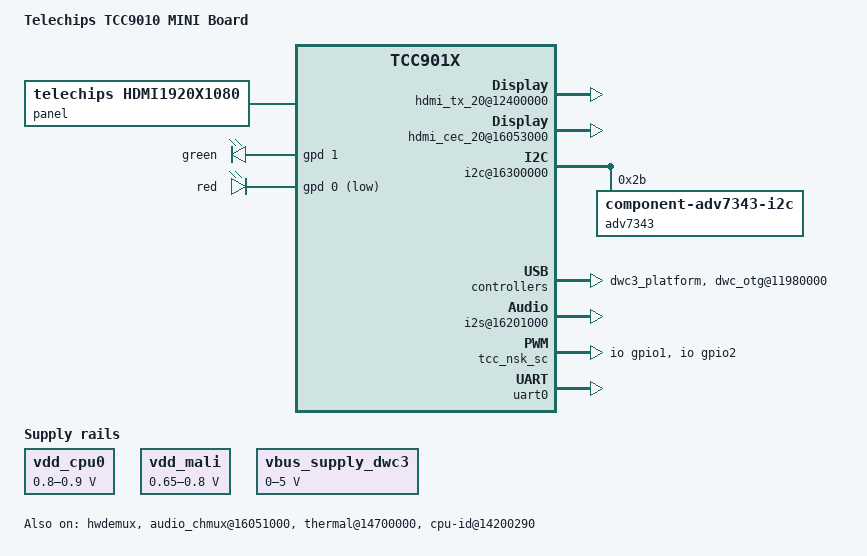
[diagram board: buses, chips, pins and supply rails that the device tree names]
/*
 * Device tree for Telechips TCC9010 MINI board
 *
 * Copyright (C) 2019 Telechips Inc. - http://www.telechips.com
 *
 * This file is dual-licensed: you can use it either under the terms
 * of the GPL or the X11 license, at your option. Note that this dual
 * licensing only applies to this file, and not this project as a
 * whole.
 *
 *  a) This file is free software; you can redistribute it and/or
 *     modify it under the terms of the GNU General Public License as
 *     published by the Free Software Foundation; either version 2 of the
 *     License, or (at your option) any later version.
 *
 *     This file is distributed in the hope that it will be useful,
 *     but WITHOUT ANY WARRANTY; without even the implied warranty of
 *     MERCHANTABILITY or FITNESS FOR A PARTICULAR PURPOSE.  See the
 *     GNU General Public License for more details.
 *
 * Or, alternatively,
 *
 *  b) Permission is hereby granted, free of charge, to any person
 *     obtaining a copy of this software and associated documentation
 *     files (the "Software"), to deal in the Software without
 *     restriction, including without limitation the rights to use,
 *     copy, modify, merge, publish, distribute, sublicense, and/or
 *     sell copies of the Software, and to permit persons to whom the
 *     Software is furnished to do so, subject to the following
 *     conditions:
 *
 *     The above copyright notice and this permission notice shall be
 *     included in all copies or substantial portions of the Software.
 *
 *     THE SOFTWARE IS PROVIDED "AS IS", WITHOUT WARRANTY OF ANY KIND,
 *     EXPRESS OR IMPLIED, INCLUDING BUT NOT LIMITED TO THE WARRANTIES
 *     OF MERCHANTABILITY, FITNESS FOR A PARTICULAR PURPOSE AND
 *     NONINFRINGEMENT. IN NO EVENT SHALL THE AUTHORS OR COPYRIGHT
 *     HOLDERS BE LIABLE FOR ANY CLAIM, DAMAGES OR OTHER LIABILITY,
 *     WHETHER IN AN ACTION OF CONTRACT, TORT OR OTHERWISE, ARISING
 *     FROM, OUT OF OR IN CONNECTION WITH THE SOFTWARE OR THE USE OR
 *     OTHER DEALINGS IN THE SOFTWARE.
 */

#include "tcc9010.dtsi"
#include "tcc901x-linux.dtsi"

/ {
	model = "Telechips TCC9010 MINI Board";
	compatible = "telechips,tcc9010", "telechips,tcc901x";

	chosen {
	};

	cpu0-regulators {
		compatible = "regulator-gpio";

		regulator-name = "vdd_cpu0";
		regulator-min-microvolt = <800000>;
		regulator-max-microvolt = <900000>;
		regulator-type = "voltage";
		regulator-always-on;

		gpios = <&gpd 16 0x4>;
		gpios-states = <0>;

		states = < 800000 0x0
			900000 0x1
			>;

		startup-delay-us = <100000>;
		enable-active-high;
	};

	mali-regulators {
		compatible = "regulator-gpio";

		regulator-name = "vdd_mali";
		regulator-min-microvolt = <650000>;
		regulator-max-microvolt = <800000>;
		regulator-type = "voltage";
		regulator-always-on;

		gpios = <&gpd 7 0x4
		         &gpd 15 0x4>;
		gpios-states = <1 0>;

		states = < 650000 0x0
			700000 0x1
			750000 0x2
			800000 0x3
			>;

		startup-delay-us = <100000>;
		enable-active-high;
	};

	panel {
		status = "okay";
		compatible = "telechips,hdmi1920x1080";
	};

	tve@12200000 {
		status = "disabled";
	};

	composite {
		status = "disabled";
	};

	component {
		status = "disabled";
		io_port_num = <1>;	/* TCC901x: LCDC interface 1 (L1_XXX) */
	};

	output_starter {
		status = "okay";
	};

	/*overlaymixer:overlaymixer@1A100000 {
		status ="okay";
		contiguousSize = <0x1000000>;  [> 16MB (if > 512MB RAM) refer to Guide 27 Page <]
		baseAddress = <0x20000000>;
		physSize = <0x80000000>; [>  DRAM size (0x40000000 = 1GB, 0x80000000 = 2GB) <]
	};*/

	fbdisplay: fbdisplay@12000000 {
		telechips,fbdisplay_num = <0>;
		status ="okay";
	};

	tcc_overlay_drv {
		compatible = "telechips,tcc_overlay";
		status = "okay";
		fbdisplay-overlay = <&fbdisplay>;
	};

	tcc_vsync_drv {
		compatible = "telechips,tcc_vsync";
		display-vioc0 = <&vioc_disp VIOC_DISP0>;
		display-vioc1 = <&vioc_disp VIOC_DISP1>;
		status = "okay";
	};

	tcc_video_viqe {
		compatible = "telechips,tcc_viqe";
		status ="okay";
		tcc_viqe_viqe_common {
			board_num=<1>;
		};

		tcc_video_viqe_external_sub {
			telechips,sc = <&vioc_scaler VIOC_SCALER0>;
		};

		tcc_video_scaler_sub_m2m {
			m2m_sc_scaler = <&vioc_scaler VIOC_SCALER0>;
		};
	};

	scaler_drv@1 {
		rdmas = <&vioc_rdma VIOC_RDMA16>;
		scalers = <&vioc_scaler VIOC_SCALER1>;
		wmixs = <&vioc_wmix VIOC_WMIX5>;
		wdmas = <&vioc_wdma VIOC_WDMA06>;
		settop_support = <1>;
		status = "okay";
	};

	scaler_drv@3 {
		rdmas = <&vioc_rdma VIOC_RDMA07>;
		scalers = <&vioc_scaler VIOC_SCALER3>;
		wmixs = <&vioc_wmix VIOC_WMIX1>;
		wdmas = <&vioc_wdma VIOC_WDMA01>;
		settop_support = <1>;
		status = "okay";
	};

	wmixer_drv@0 {
		status = "okay";
	};

	wmixer_drv@1 {
		status = "okay";
	};

	vout_drv@0 {
		status = "okay";
	};

	hdmi_tx_20@12400000 {
		status = "okay";
		hdmi_ref_src_clock = <0>; // 0 XIN, 1 X-TAL, 2 PERI, 3, PMU XIN
		hdmi_phy_type = <1>;

		/* Source Product Description */
		product_description = "TCC9010_mini";
	};

	hdmi_cec_20@16053000 {
		status = "okay";
	};

	/* I2C */

	// Default set
	i2c@16300000 {
		port-mux = <9>;
		status = "okay";
		pinctrl-names = "default";
		pinctrl-0 = <&i2c9_bus>;

		adv7343@20 {
			compatible = "component-adv7343-i2c";
			reg = <0x2b>;	/* ALSB=1, Write=0x56, Read=0x57 */
		};
	};

	vbus_supply_dwc3: vbus_supply_dwc3 {
		compatible = "regulator-gpio";
		regulator-name = "vbus_supply_dwc3";
		regulator-type = "voltage";
		regulator-min-microvolt = <0000001>;
		regulator-max-microvolt = <5000000>;
		gpios = <&gpd 19 0x0>;
		gpios-states = <0x0>;
		states = <0000001 0x0 5000000 0x1>;
	};

	/* USB 3.0 DRD */
	dwc3_phy@11D90000 {
		status = "okay";
		vbus-ctrl-able;
		vbus-supply = <&vbus_supply_dwc3>;
	};
	dwc3_platform {
		status = "okay";
	};

	/* USB 2.0 HOST */
	ehci_phy@11DA0010 {
		status = "okay";
	};

	mux_host_phy@11DA00DC {
		status = "okay";
	};

	dwc_otg_phy@11DA0100 {
		status = "okay";
	};

	ehci@11A00000 {
		status = "disable";
		hcd_id = <0>;
		phy-type = <1>;	    //pico phy = 1, nano phy = 0
		TXVRT = <0xB>;
		TXRISET = <0x3>;
		TXAT = <0x1>;
	};

	ohci@11A80000 {
		status = "disable";
	};

	/* USB 2.0 OTG */
	dwc_otg@11980000 {
	    status = "okay";
	    phy-type = <1>;     //pico phy = 1, nano phy = 0
	};

	audio_chmux@16051000{
		compatible = "telechips,audio-chmux-901x";
		dai = <99 99>; // i2s0(x) i2s1(x)
		cdif = <99 99>; // cdif0(x) cdif1(x)
		spdif = <99>; // spdif0(x)
		status = "okay";
	};

	i2s@16201000 {
		pinctrl-names = "default";
		status = "okay";
	};

	adma@16200000 {
		status = "okay";
	};

	sound@0 {
		compatible = "telechips,snd-card";
		card-name = "TCC9010 Mini Card";
		status = "okay";

		telechips,dai-link@0 {
			stream-name="HDMI";

			codec,format = "i2s"; // i2s, left_j, right_j
			codec,continuous-clock;

			mclk_div = <4>; // 4,6,8,16
			bclk_ratio = <64>; // 32,48,64fs
			pcm = <&adma1>;
			dai = <&i2s1>;
		};
	};

	thermal@14700000 {
		compatible = "telechips,tcc-thermal";
		reg = <0x14700000 0x4 0x14700030 0x4 0x14200290 0x4 0x1420029C 0x4>;
		clocks = <&clk_isoip_top ISOIP_TOP_TSEN>;
		status = "okay";

		throttle_count = <5>;
		throttle_active_count = <0>;
		throttle_passive_count = <5>;

		cal_type = "TYPE_ONE_POINT_TRIMMING";
		polling-delay-idle = <0>;
		polling-delay-passive = <0>;

		throttle_table {
			throttle_tab_0 {
				temp = <75>;
				freq_max_cluster0 = <1000000>;
				freq_max_cluster1 = <900000>;
			};
			throttle_tab_1 {
				temp = <80>;
				freq_max_cluster0 = <900000>;
				freq_max_cluster1 = <810000>;
			};
			throttle_tab_2 {
				temp = <85>;
				freq_max_cluster0 = <800000>;
				freq_max_cluster1 = <720000>;
			};
			throttle_tab_3 {
				temp = <90>;
				freq_max_cluster0 = <700000>;
				freq_max_cluster1 = <630000>;
			};
			throttle_tab_4 {
				temp = <95>;
				freq_max_cluster0 = <600000>;
				freq_max_cluster1 = <540000>;
			};
		};
	};

	cpu-id@14200290{
		compatible = "telechips,tcc-cpu-id";
		reg = <0x14200290 0x4 0x14200298 0x4 0x1420029C 0x4 0x14400014 0x4>;
		status = "okay";
	};

	run-control {
		compatible = "gpio-leds";
		green {
			gpios = <&gpd 1 0>;
			default-state = "on";
		};
		red {
			gpios = <&gpd 0 1>;
			default-state = "on";
		};
	};

	tcc_nsk_sc: tcc_nsk_sc@16671000 {
		compatible = "telechips,tcc-nsk-sc";

		rst_gpios = <&gpb 31 0>;
		detect_gpios = <&gpb 28 0>;
		pwren_gpios = <&gpb 30 0>;
		vccsel_gpios = <&gpc 31 0>;

		clk_gpios = <&gpa 26 0>;
		data_c7_gpios = <&gpa 25 0>;
		data_c4_gpios = <&gpa 27 0>;
		data_c8_gpios = <&gpa 28 0>;

		tda8024_use = <1>;

		pinctrl-names = "default", "io_data_c4", "io_data_c8";
		pinctrl-0 = <&nsk_sc_ctrl &nsk_sc_io_clk &nsk_sc_io_data0 &nsk_sc_io_gpio1 &nsk_sc_io_gpio2>;
		pinctrl-1 = <&nsk_sc_ctrl &nsk_sc_io_clk &nsk_sc_io_gpio0 &nsk_sc_io_data1 &nsk_sc_io_gpio2>;
		pinctrl-2 = <&nsk_sc_ctrl &nsk_sc_io_clk &nsk_sc_io_gpio0 &nsk_sc_io_gpio1 &nsk_sc_io_data2>;

		status = "okay";
	};
};

&uart0 {
	pinctrl-names = "default";
	pinctrl-0 = <&uart2_data>;
	status = "okay";
};

/* H/W Demux */
&hwdemux {
	compatible = "telechips,hwdemux";
	status = "okay";
};

/* Linux TV */
&tcc_hwdmx_tsif0 {
	compatible = "telechips,tcc89xx-hwdmx-tsif";
	tsif-port = <2>;
	pinctrl-names = "idle", "active";
	pinctrl-0 = <&tsrx2_idle>;
	pinctrl-1 = <&tsrx2_active>;
};
